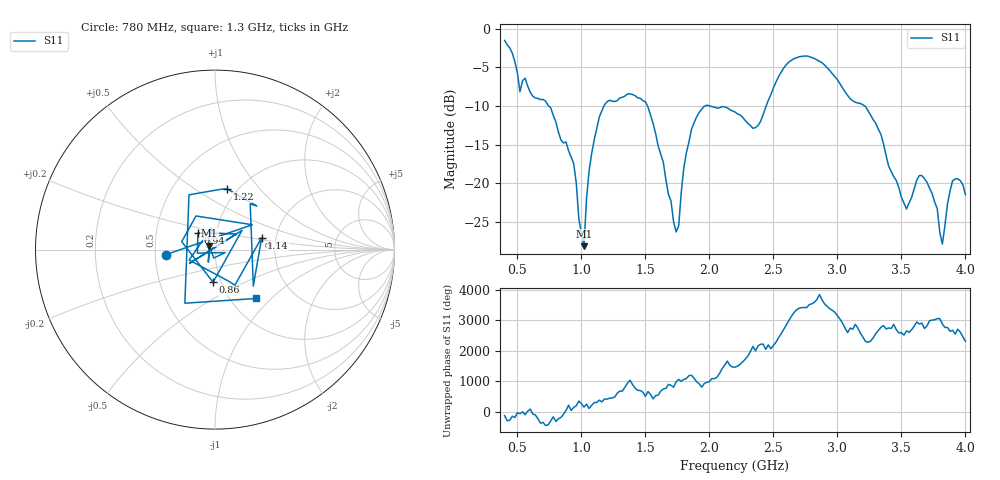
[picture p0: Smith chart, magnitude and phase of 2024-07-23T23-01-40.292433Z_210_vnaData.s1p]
!Created with skrf (http://scikit-rf.org).
# Hz S RI R 50.0
!freq ReS11 ImS11
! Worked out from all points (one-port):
!   181 points, 400 MHz to 4 GHz, reference 50 ohm
!   lowest |S11| = -28.2 dB at 1.02 GHz (marker M1), VSWR 1.08, Z = 46.9 + j2.12 ohm
!   |S11| at or under -10 dB: 1.516 GHz to 1.965 GHz (448.9 MHz wide, 25.8 % of centre); 2.005 GHz to 2.443 GHz (438.3 MHz wide, 19.7 % of centre); 3.214 GHz to end of sweep (the widest 3 of 4)
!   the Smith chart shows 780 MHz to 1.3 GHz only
!   S11 on the Smith chart (normalised r, x): 780 MHz: 0.57, -0.03; 860 MHz: 0.92, -0.34; 940 MHz: 0.81, +0.15; 1.14 GHz: 1.68, +0.24; 1.22 GHz: 0.90, +0.69; 1.3 GHz: 1.31, -0.82
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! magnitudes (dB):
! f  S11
! 400 MHz  -1.5
! 520 MHz  -8.2
! 560 MHz  -6.4
! 780 MHz  -11.2
! 860 MHz  -14.8
! 940 MHz  -17.5
! 1.02 GHz  -28.2
! 1.06 GHz  -18.4
! 1.14 GHz  -11.4
! 1.22 GHz  -9.3
! 1.3 GHz  -9.0
! 1.52 GHz  -10.1
! 1.74 GHz  -26.3
! 1.76 GHz  -25.5
! 1.8 GHz  -18.0
! 1.9 GHz  -11.4
! 2.2 GHz  -10.8
! 2.38 GHz  -12.5
! 2.66 GHz  -3.9
! 2.88 GHz  -4.4
! 3.1 GHz  -9.1
! 3.3 GHz  -12.3
! 3.56 GHz  -22.6
! 3.68 GHz  -19.4
! 3.78 GHz  -23.3
! 3.82 GHz  -27.9
! 3.9 GHz  -19.7
! 4 GHz  -21.5
